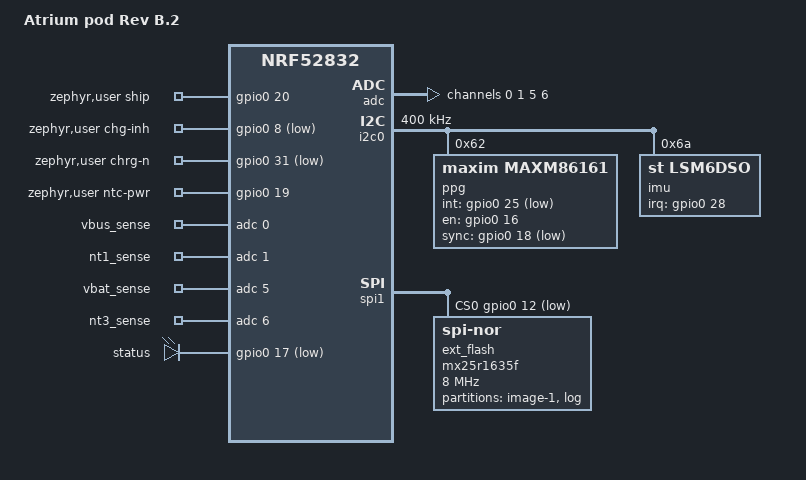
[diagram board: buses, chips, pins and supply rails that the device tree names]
/*
 * Copyright (c) 2026 Local Forge
 * SPDX-License-Identifier: Apache-2.0
 *
 * Atrium pod Rev B.2 (compact, MAXM86161). Every pin below is U1 ball -> net from the
 * Rev B.2 pod netlist; tests/check_pins.py checks it. Rev B.1 is archived (git tag rev-b1).
 *
 * Power: no fuel gauge on the r5 Pill board; VBAT_SENSE is VBAT / 2 on AIN5. VLED = VBAT.
 * TPS62840 (R2 267 kOhm) makes VDD 3.3 V from VBAT; below 3.3 V it runs at 100 %.
 * The nRF52832 regulator runs in DC/DC mode: DCC (U1 B6) -> L2 10 uH -> L3 15 nH -> DEC4.
 * Clocks: Y1 32 MHz on XC1/XC2 (U1 B2, A1). No 32.768 kHz crystal: calibrated LFRC
 * (atrium_pod_defconfig); XL1/XL2 (P0.00/P0.01) are not connected.
 */

/dts-v1/;
#include <nordic/nrf52832_ciaa.dtsi>
#include <zephyr/dt-bindings/adc/adc.h>
#include <zephyr/dt-bindings/adc/nrf-saadc.h>
#include "atrium_pod-pinctrl.dtsi"

/ {
	model = "Atrium pod Rev B.2";
	compatible = "localforge,atrium-pod";

	chosen {
		zephyr,sram = &sram0;
		zephyr,flash = &flash0;
		zephyr,code-partition = &slot0_partition;
	};

	aliases {
		watchdog0 = &wdt0;
		led0 = &status_led;
		ppg0 = &ppg;
		imu0 = &imu;
		log-flash0 = &ext_flash;
	};

	/* Power, charge and thermal pins, used by src/hw/power_hw.c. */
	zephyr,user {
		io-channels = <&adc 0>, <&adc 1>, <&adc 5>, <&adc 6>;
		io-channel-names = "vbus_sense", "nt1_sense", "vbat_sense", "nt3_sense";
		/* SHIP U1 G2 P0.20 -> LPB1010 CTL (internal pull-down). High >= 100 ms ships. */
		ship-gpios = <&gpio0 20 GPIO_ACTIVE_HIGH>;
		/* CHG_INH U1 G7 P0.08 -> R16 1 kOhm -> BQ25101 TS. Active = driven low; idle = Hi-Z. */
		chg-inh-gpios = <&gpio0 8 GPIO_ACTIVE_LOW>;
		/* CHRG_N U1 B5 P0.31 <- BQ25101 CHG#, open drain, no pull-up on the board */
		chrg-n-gpios = <&gpio0 31 (GPIO_ACTIVE_LOW | GPIO_PULL_UP)>;
		/* NTC_PWR U1 F3 P0.19 -> R13 / R21 10 kOhm 0.1 % -> TH1 / TH4 to GND */
		ntc-pwr-gpios = <&gpio0 19 GPIO_ACTIVE_HIGH>;

		/* Cell and charger, read by src/main.c (REV_B2_COMPACT.md, numbers every session uses):
		 * - cell: Sharvi 400909, 30 mAh, no protection board (the LPB1010 protects it);
		 * - ICHG = K_ISET / R1 13.3 kOhm: 145 / 13.3k = 10.90 mA worst case (135: 10.15 typical);
		 * - cut-off 3.30 V loaded, above LPB1010 VDL max 2.9 V;
		 * - green needs about 3.5 V on the MAXM86161 31 mA range [VERIFY];
		 * - cell resistance: no data sheet yet, so 2.0 ohm, the end-of-life and cold
		 *   figure (1.0 ohm typical) [ASSUMED]. Set it from the bench;
		 * - VBAT_SENSE = VBAT x R18 / (R17 + R18), 1 MOhm / 1 MOhm.
		 * P0.04 (heater) and P0.05 (TH3) are not connected. */
		cell-capacity-mah = <30>;
		charge-current-max-ua = <10902>;
		cutoff-mv = <3300>;
		green-min-mv = <3500>;
		cell-resistance-mohm = <2000>;
		vbat-sense-top-ohm = <1000000>;
		vbat-sense-bottom-ohm = <1000000>;
	};

	leds {
		compatible = "gpio-leds";

		/* LED_K U1 G3 P0.17: VDD -> R22 470 Ohm -> D2 white LED -> P0.17, about 1 mA when low.
		 * Under the light pipe. */
		status_led: led_0 {
			gpios = <&gpio0 17 GPIO_ACTIVE_LOW>;
			label = "status";
		};
	};
};

&reg {
	regulator-initial-mode = <NRF5X_REG_MODE_DCDC>;
};

/*
 * SWD on internal test pads, no series resistors: SWDIO U1 G1 -> TP5, SWCLK U1 F1 -> TP6,
 * NRESET U1 H1 P0.21 -> TP7. Pin reset stays off (UICR PSELRESET unprogrammed): SWD
 * does not need it. For bring-up only, add `&uicr { gpio-as-nreset; };` in an overlay.
 */

&gpiote {
	status = "okay";
};

&gpio0 {
	status = "okay";
};

&adc {
	#address-cells = <1>;
	#size-cells = <0>;
	status = "okay";

	/* VBUS_SENSE U1 C6 P0.02/AIN0: R14 1 MOhm / R15 470 kOhm, 1.57 V max.
	 * 0.6 V ref at gain 1/3 = 1.8 V FS; 320 kOhm source needs 40 us. */
	channel@0 {
		reg = <0>;
		zephyr,gain = "ADC_GAIN_1_3";
		zephyr,reference = "ADC_REF_INTERNAL";
		zephyr,acquisition-time = <ADC_ACQ_TIME(ADC_ACQ_TIME_MICROSECONDS, 40)>;
		zephyr,input-positive = <NRF_SAADC_AIN0>;
		zephyr,resolution = <12>;
	};

	/* NT1_SENSE U1 D6 P0.03/AIN1: TH1, skin side under the window. Ratiometric:
	 * VDD/4 ref at gain 1/4 = VDD full scale, the rail NTC_PWR drives. */
	channel@1 {
		reg = <1>;
		zephyr,gain = "ADC_GAIN_1_4";
		zephyr,reference = "ADC_REF_VDD_1_4";
		zephyr,acquisition-time = <ADC_ACQ_TIME(ADC_ACQ_TIME_MICROSECONDS, 10)>;
		zephyr,input-positive = <NRF_SAADC_AIN1>;
		zephyr,resolution = <12>;
	};

	/* VBAT_SENSE U1 A4 P0.29/AIN5: VBAT / 2 (R17 / R18 1 MOhm), 2.1 V max, C24 100 nF holds
	 * the node. 0.6 V ref at gain 1/4 = 2.4 V FS. */
	channel@5 {
		reg = <5>;
		zephyr,gain = "ADC_GAIN_1_4";
		zephyr,reference = "ADC_REF_INTERNAL";
		zephyr,acquisition-time = <ADC_ACQ_TIME(ADC_ACQ_TIME_MICROSECONDS, 40)>;
		zephyr,input-positive = <NRF_SAADC_AIN5>;
		zephyr,resolution = <12>;
	};

	/* NT3_SENSE U1 A5 P0.30/AIN6: TH4, top side under the lid. */
	channel@6 {
		reg = <6>;
		zephyr,gain = "ADC_GAIN_1_4";
		zephyr,reference = "ADC_REF_VDD_1_4";
		zephyr,acquisition-time = <ADC_ACQ_TIME(ADC_ACQ_TIME_MICROSECONDS, 10)>;
		zephyr,input-positive = <NRF_SAADC_AIN6>;
		zephyr,resolution = <12>;
	};
};

&i2c0 {
	compatible = "nordic,nrf-twim";
	status = "okay";
	clock-frequency = <I2C_BITRATE_FAST>;
	pinctrl-0 = <&i2c0_default>;
	pinctrl-1 = <&i2c0_sleep>;
	pinctrl-names = "default", "sleep";

	/* U2 MAXM86161 optical module: AFE, green, IR and red LEDs, one PD. VLED = VBAT. */
	ppg: maxm86161@62 {
		compatible = "maxim,maxm86161";
		reg = <0x62>;
		/* PPG_INT U1 B3 P0.25 <- INTB (pin 14), open drain; no pull-up on the board */
		int-gpios = <&gpio0 25 (GPIO_ACTIVE_LOW | GPIO_PULL_UP)>;
		/* PPG_EN U1 H3 P0.16 -> LDO_EN (pin 3) */
		en-gpios = <&gpio0 16 GPIO_ACTIVE_HIGH>;
		/* PPG_SYNC U1 H2 P0.18 <-> GPIO (pin 13), open drain; not used yet */
		sync-gpios = <&gpio0 18 (GPIO_ACTIVE_LOW | GPIO_OPEN_DRAIN)>;
	};

	/* U3 LSM6DSOX (LSM6DSO register set), SDO/SA0 to GND. IMU_INT2 U1 F4 P0.11 unused. */
	imu: lsm6dsox@6a {
		compatible = "st,lsm6dso";
		reg = <0x6a>;
		/* IMU_INT1 U1 A3 P0.28 */
		irq-gpios = <&gpio0 28 GPIO_ACTIVE_HIGH>;
		int-pin = <1>;
	};
};

&spi1 {
	compatible = "nordic,nrf-spim";
	status = "okay";
	pinctrl-0 = <&spi1_default>;
	pinctrl-1 = <&spi1_sleep>;
	pinctrl-names = "default", "sleep";
	/* FL_CS U1 H6 P0.12 */
	cs-gpios = <&gpio0 12 GPIO_ACTIVE_LOW>;

	/* U8 MX25R1635FZUIH0, 16 Mbit, 1.65 to 3.6 V. WP#/SIO2 and RESET#/SIO3 tied to VDD.
	 * Powers up in ultra-low-power mode, fine for 8 MHz [VERIFY: MX25R data sheet fMAX in LP mode]. */
	ext_flash: mx25r1635f@0 {
		compatible = "jedec,spi-nor";
		reg = <0>;
		spi-max-frequency = <8000000>;
		jedec-id = [c2 28 15];
		size = <0x1000000>;
		has-dpd;
		/* tDP and tRDP from the MX25R family [VERIFY: MX25R1635F data sheet] */
		t-enter-dpd = <10000>;
		t-exit-dpd = <35000>;

		partitions {
			compatible = "fixed-partitions";
			#address-cells = <1>;
			#size-cells = <1>;

			/* MCUboot secondary slot, same size as slot0 */
			slot1_partition: partition@0 {
				label = "image-1";
				reg = <0x00000000 0x0006a000>;
			};

			/* the rest: 1600 KB of 24-byte records (src/logstore.c) */
			log_partition: partition@70000 {
				label = "log";
				reg = <0x00070000 0x00190000>;
			};
		};
	};
};

/*
 * Internal flash: MCUboot 64 KB, primary slot 424 KB, settings and bonds 24 KB.
 * The secondary slot is on the MX25R1635F (above).
 */
&flash0 {
	partitions {
		compatible = "fixed-partitions";
		#address-cells = <1>;
		#size-cells = <1>;

		boot_partition: partition@0 {
			label = "mcuboot";
			reg = <0x00000000 0x10000>;
		};

		slot0_partition: partition@10000 {
			label = "image-0";
			reg = <0x00010000 0x6a000>;
		};

		storage_partition: partition@7a000 {
			label = "storage";
			reg = <0x0007a000 0x00006000>;
		};
	};
};
